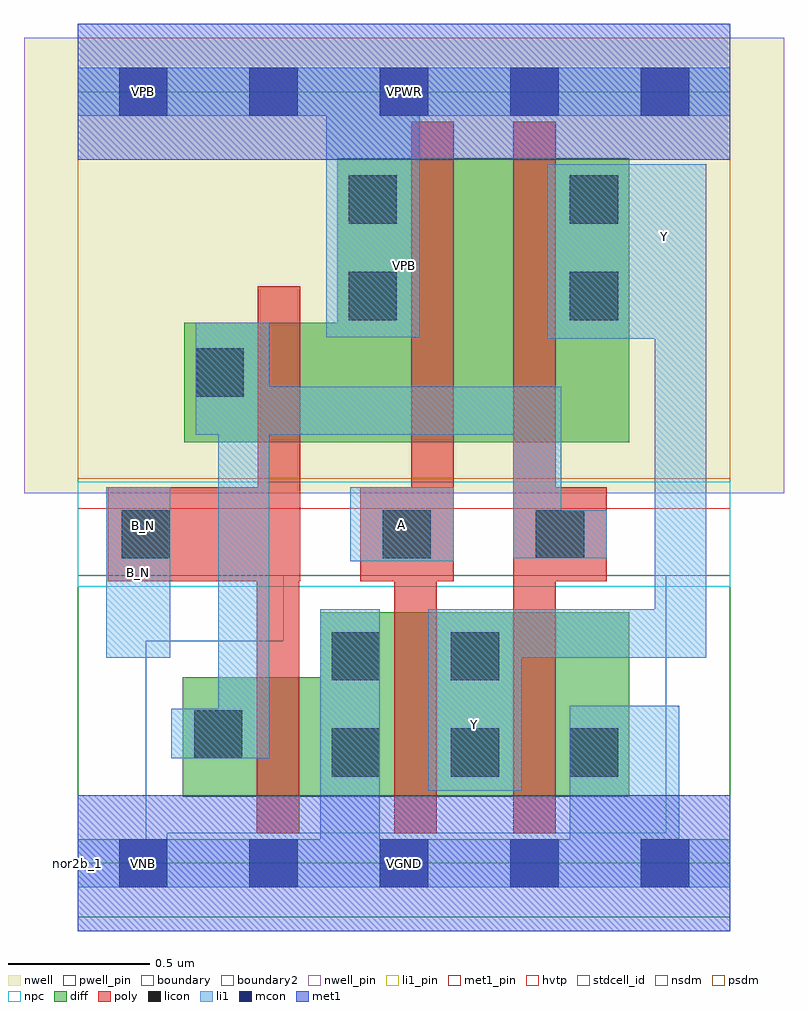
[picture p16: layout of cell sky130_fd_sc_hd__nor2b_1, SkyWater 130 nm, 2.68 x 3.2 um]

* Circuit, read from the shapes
.subckt sky130_fd_sc_hd__nor2b_1 A B_N VGND VNB VPB VPWR Y
XM1 VGND B_N n1 VNB sky130_fd_pr__nfet_01v8 w=0.42 l=0.15
XM2 Y A VGND VNB sky130_fd_pr__nfet_01v8 w=0.65 l=0.15
XM3 VGND n1 Y VNB sky130_fd_pr__nfet_01v8 w=0.65 l=0.15
XM4 VPWR B_N n1 VPB sky130_fd_pr__pfet_01v8_hvt w=0.42 l=0.15
XM5 n2 A VPWR VPB sky130_fd_pr__pfet_01v8_hvt w=1 l=0.15
XM6 Y n1 n2 VPB sky130_fd_pr__pfet_01v8_hvt w=1 l=0.15
.ends

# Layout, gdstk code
import gdstk
lib = gdstk.Library(unit=1e-6, precision=1e-09)
def R(c, l, rs):  # rectangles x0, y0, x1, y1
    for r in rs: c.add(gdstk.rectangle(r[:2], r[2:], *l))
def A(c, l, x, y, w, h, nx, ny, dx, dy):  # array of equal rectangles
    R(c, l, [(x+i*dx, y+j*dy, x+i*dx+w, y+j*dy+h) for i in range(nx) for j in range(ny)])
def P(c, l, *ps):  # polygons
    for p in ps: c.add(gdstk.Polygon(p, *l))
nwell_pin = (64, 16)
nwell = (64, 20)
diff = (65, 20)
poly = (66, 20)
licon = (66, 44)
li1_pin = (67, 16)
li1 = (67, 20)
mcon = (67, 44)
met1_pin = (68, 16)
met1 = (68, 20)
hvtp = (78, 44)
stdcell_id = (81, 4)
nsdm = (93, 44)
psdm = (94, 20)
npc = (95, 20)
pwell_pin = (122, 16)
boundary = (235, 4)
boundary2 = (236, 0)

sky130_fd_sc_hd__nor2b_1 = lib.new_cell('sky130_fd_sc_hd__nor2b_1')
R(sky130_fd_sc_hd__nor2b_1, nwell_pin, [(-0.19,1.305,2.49,2.91), (0.145,2.635,0.315,2.805)])
R(sky130_fd_sc_hd__nor2b_1, nwell, [(-0.19,1.305,2.49,2.91)])
P(sky130_fd_sc_hd__nor2b_1, diff, [(0.37,0.235),(0.37,0.655),(0.855,0.655),(0.855,0.885),(1.945,0.885),(1.945,0.235)],
  [(0.375,1.485),(0.375,1.905),(0.915,1.905),(0.915,2.485),(1.945,2.485),(1.945,1.485)])
P(sky130_fd_sc_hd__nor2b_1, poly, [(1.535,0.105),(1.535,2.615),(1.685,2.615),(1.685,1.325),(1.865,1.325),(1.865,0.995),(1.685,0.995),(1.685,0.105)],
  [(1.115,0.105),(1.115,0.995),(0.995,0.995),(0.995,1.325),(1.175,1.325),(1.175,2.615),(1.325,2.615),(1.325,0.995),(1.265,0.995),(1.265,0.105)],
  [(0.63,0.105),(0.63,0.995),(0.105,0.995),(0.105,1.325),(0.635,1.325),(0.635,2.035),(0.785,2.035),(0.785,0.995),(0.78,0.995),(0.78,0.105)])
A(sky130_fd_sc_hd__nor2b_1, licon, 0.895, 0.305, 0.17, 0.17, 3, 1, 0.42, 0)
R(sky130_fd_sc_hd__nor2b_1, licon, [(0.41,0.37,0.58,0.54), (0.895,0.645,1.065,0.815), (1.315,0.645,1.485,0.815), (0.155,1.075,0.325,1.245), (1.075,1.075,1.245,1.245), (1.615,1.075,1.785,1.245), (0.415,1.645,0.585,1.815), (0.955,1.915,1.125,2.085), (1.735,1.915,1.905,2.085), (0.955,2.255,1.125,2.425), (1.735,2.255,1.905,2.425)])
R(sky130_fd_sc_hd__nor2b_1, li1_pin, [(1.235,0.255,1.565,0.725), (0.1,0.725,0.325,1.325), (1.235,0.725,2.215,0.895), (0.145,0.765,0.315,0.935), (2.035,0.895,2.215,1.85), (0.96,1.065,1.325,1.325), (0.145,1.105,0.315,1.275), (1.065,1.105,1.235,1.275), (1.655,1.85,2.215,2.465), (1.985,2.125,2.155,2.295)])
R(sky130_fd_sc_hd__nor2b_1, li1, [(0.1,0.725,0.325,1.325), (0.96,1.065,1.325,1.325)])
P(sky130_fd_sc_hd__nor2b_1, li1, [(0,-0.085),(0,0.085),(0.855,0.085),(0.855,0.895),(1.065,0.895),(1.065,0.085),(1.735,0.085),(1.735,0.555),(2.12,0.555),(2.12,0.085),(2.3,0.085),(2.3,-0.085)],
  [(0.875,1.855),(0.875,2.635),(0,2.635),(0,2.805),(2.3,2.805),(2.3,2.635),(1.205,2.635),(1.205,1.855)],
  [(1.235,0.255),(1.235,0.895),(2.035,0.895),(2.035,1.85),(1.655,1.85),(1.655,2.465),(2.215,2.465),(2.215,0.725),(1.565,0.725),(1.565,0.255)],
  [(0.33,0.37),(0.33,0.545),(0.495,0.545),(0.495,1.51),(0.415,1.51),(0.415,1.905),(0.675,1.905),(0.675,1.68),(1.705,1.68),(1.705,1.245),(1.865,1.245),(1.865,1.075),(1.535,1.075),(1.535,1.51),(0.675,1.51),(0.675,0.37)])
A(sky130_fd_sc_hd__nor2b_1, mcon, 0.145, -0.085, 0.17, 0.17, 5, 2, 0.46, 2.72)
R(sky130_fd_sc_hd__nor2b_1, met1_pin, [(0,-0.24,2.3,0.24), (0.145,-0.085,0.315,0.085), (0,2.48,2.3,2.96), (0.145,2.635,0.315,2.805)])
R(sky130_fd_sc_hd__nor2b_1, met1, [(0,-0.24,2.3,0.24), (0,2.48,2.3,2.96)])
R(sky130_fd_sc_hd__nor2b_1, hvtp, [(0,1.25,2.3,2.72)])
R(sky130_fd_sc_hd__nor2b_1, stdcell_id, [(0,0,2.3,2.72)])
R(sky130_fd_sc_hd__nor2b_1, nsdm, [(0,-0.19,2.3,1.015)])
R(sky130_fd_sc_hd__nor2b_1, psdm, [(0,1.355,2.3,2.91)])
R(sky130_fd_sc_hd__nor2b_1, npc, [(0,0.975,2.3,1.345)])
R(sky130_fd_sc_hd__nor2b_1, pwell_pin, [(0.145,-0.085,0.315,0.085), (0.145,-0.085,0.315,0.085), (0.24,0.085,0.315,0.105), (0.24,0.105,2.075,0.785), (0.725,0.785,2.075,1.015)])
R(sky130_fd_sc_hd__nor2b_1, boundary, [(0,0,2.3,2.72)])
R(sky130_fd_sc_hd__nor2b_1, boundary2, [(0,0,2.3,2.72)])
sky130_fd_sc_hd__nor2b_1.add(gdstk.FlexPath([(0,2.72),(2.3,2.72)], 0.48, ends="flush", simple_path=True, layer=68, datatype=20))  # met1
sky130_fd_sc_hd__nor2b_1.add(gdstk.FlexPath([(0,0),(2.3,0)], 0.48, ends="flush", simple_path=True, layer=68, datatype=20))  # met1
sky130_fd_sc_hd__nor2b_1.add(gdstk.Label('A', (1.142,1.195), layer=67, texttype=5))
sky130_fd_sc_hd__nor2b_1.add(gdstk.Label('B_N', (0.212,1.025), layer=67, texttype=5))
sky130_fd_sc_hd__nor2b_1.add(gdstk.Label('Y', (1.4,0.49), layer=67, texttype=5))
sky130_fd_sc_hd__nor2b_1.add(gdstk.Label('B_N', (0.23,1.19), layer=67, texttype=5))
sky130_fd_sc_hd__nor2b_1.add(gdstk.Label('Y', (2.07,2.21), layer=67, texttype=5))
sky130_fd_sc_hd__nor2b_1.add(gdstk.Label('A', (1.15,1.19), layer=67, texttype=5))
sky130_fd_sc_hd__nor2b_1.add(gdstk.Label('VNB', (0.23,0), layer=64, texttype=59))
sky130_fd_sc_hd__nor2b_1.add(gdstk.Label('VPB', (1.15,2.107), layer=64, texttype=5))
sky130_fd_sc_hd__nor2b_1.add(gdstk.Label('VPB', (0.23,2.72), layer=64, texttype=5))
sky130_fd_sc_hd__nor2b_1.add(gdstk.Label('VGND', (1.15,0), layer=68, texttype=5))
sky130_fd_sc_hd__nor2b_1.add(gdstk.Label('VPWR', (1.15,2.72), layer=68, texttype=5))
sky130_fd_sc_hd__nor2b_1.add(gdstk.Label('VGND', (0.23,0), layer=68, texttype=5))
sky130_fd_sc_hd__nor2b_1.add(gdstk.Label('VPWR', (0.23,2.72), layer=68, texttype=5))
sky130_fd_sc_hd__nor2b_1.add(gdstk.Label('nor2b_1', (0,0), layer=83, texttype=44))
sky130_fd_sc_hd__nor2b_1.add(gdstk.Label('VNB', (0.23,0), layer=122, texttype=5))

lib.write_gds('sky130_fd_sc_hd__nor2b_1.gds')
